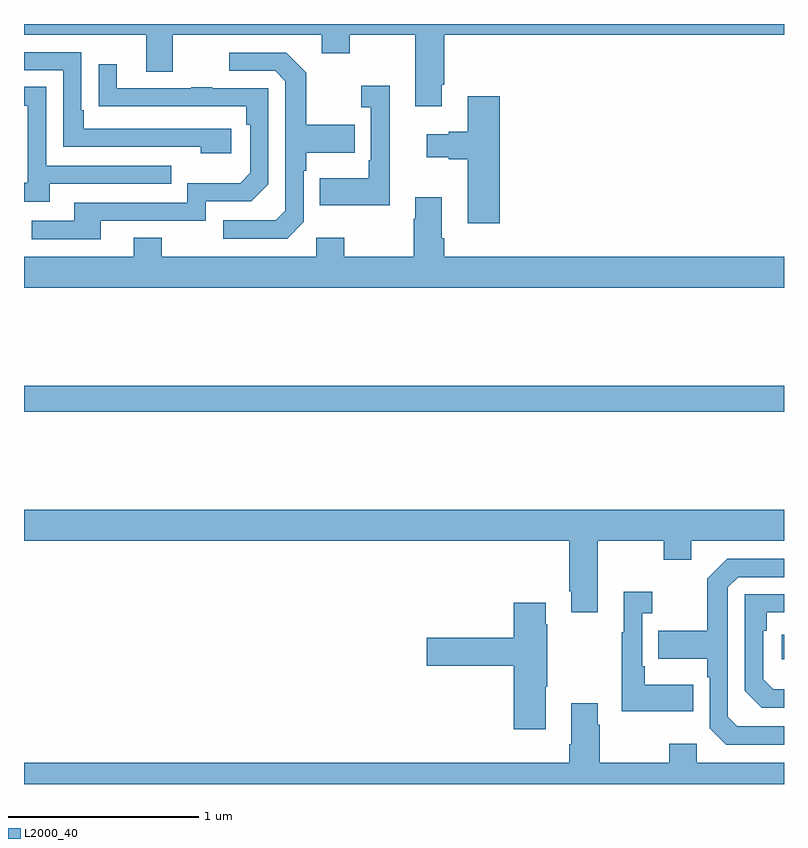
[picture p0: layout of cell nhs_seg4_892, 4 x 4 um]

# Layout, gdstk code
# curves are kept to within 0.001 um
import gdstk
lib = gdstk.Library(unit=1e-6, precision=1e-09)
def R(c, l, rs):  # rectangles x0, y0, x1, y1
    for r in rs: c.add(gdstk.rectangle(r[:2], r[2:], *l))
def P(c, l, *ps):  # polygons
    for p in ps: c.add(gdstk.Polygon(p, *l))
L2000_40 = (2000, 40)

nhs_seg4_892 = lib.new_cell('nhs_seg4_892')
R(nhs_seg4_892, L2000_40, [(160.989,769.556,161,769.686), (157,770.86,161,770.996)])
P(nhs_seg4_892, L2000_40, [(161,772.9),(157,772.9),(157,772.844),(157.643,772.844),(157.643,772.65),(157.783,772.65),(157.783,772.844),(158.567,772.844),(158.567,772.745),(158.715,772.745),(158.715,772.844),(159.059,772.844),(159.059,772.467),(159.199,772.467),(159.199,772.579),(159.212,772.579),(159.212,772.844),(161,772.844)],
  [(158.092,772.35),(157.315,772.35),(157.315,772.447),(157.302,772.447),(157.302,772.752),(157,772.752),(157,772.656),(157.206,772.656),(157.206,772.254),(157.931,772.254),(157.931,772.22),(158.092,772.22)],
  [(158.472,771.858),(158.472,772.127),(158.485,772.127),(158.485,772.223),(158.741,772.223),(158.741,772.371),(158.485,772.371),(158.485,772.643),(158.379,772.749),(158.079,772.749),(158.079,772.653),(158.322,772.653),(158.376,772.599),(158.376,771.918),(158.325,771.867),(158.049,771.867),(158.049,771.771),(158.385,771.771)],
  [(157.405,771.864),(157.956,771.864),(157.956,771.966),(158.196,771.966),(158.286,772.056),(158.286,772.563),(157.991,772.563),(157.991,772.568),(157.879,772.568),(157.879,772.563),(157.489,772.563),(157.489,772.687),(157.393,772.687),(157.393,772.468),(158.17,772.467),(158.17,772.37),(158.19,772.37),(158.19,772.116),(158.137,772.063),(157.86,772.063),(157.86,771.96),(157.265,771.96),(157.265,771.864),(157.041,771.864),(157.041,771.768),(157.405,771.768)],
  [(158.924,772.576),(158.775,772.576),(158.775,772.463),(158.826,772.463),(158.826,772.183),(158.814,772.183),(158.814,772.087),(158.557,772.087),(158.557,771.947),(158.924,771.947)],
  [(157.135,772.059),(157.775,772.059),(157.775,772.155),(157.116,772.155),(157.116,772.571),(157,772.571),(157,772.47),(157.02,772.47),(157.02,772.065),(157,772.065),(157,771.965),(157.135,771.965)],
  [(159.503,772.519),(159.335,772.519),(159.335,772.334),(159.236,772.334),(159.236,772.321),(159.12,772.321),(159.12,772.199),(159.236,772.199),(159.236,772.187),(159.335,772.187),(159.335,771.852),(159.503,771.852)],
  [(161,771.676),(159.212,771.676),(159.212,771.772),(159.199,771.772),(159.199,771.988),(159.059,771.988),(159.059,771.875),(159.052,771.875),(159.052,771.676),(158.685,771.676),(158.685,771.775),(158.538,771.775),(158.538,771.676),(157.725,771.676),(157.725,771.775),(157.577,771.775),(157.577,771.676),(157,771.676),(157,771.512),(161,771.512)],
  [(160.021,770.18),(160.366,770.18),(160.366,770.081),(160.513,770.081),(160.513,770.18),(161,770.18),(161,770.344),(157,770.344),(157,770.18),(159.869,770.18),(159.869,769.915),(159.881,769.915),(159.881,769.803),(160.021,769.803)],
  [(161,769.203),(160.755,769.203),(160.704,769.254),(160.704,769.935),(160.758,769.989),(161,769.989),(161,770.085),(160.701,770.085),(160.596,769.979),(160.596,769.707),(160.339,769.707),(160.339,769.559),(160.596,769.559),(160.596,769.463),(160.608,769.463),(160.608,769.194),(160.695,769.107),(161,769.107)],
  [(160.523,769.423),(160.267,769.423),(160.267,769.519),(160.254,769.519),(160.254,769.799),(160.306,769.799),(160.306,769.912),(160.157,769.912),(160.157,769.699),(160.146,769.699),(160.146,769.283),(160.523,769.283)],
  [(161,769.399),(160.943,769.399),(160.89,769.452),(160.89,769.706),(160.91,769.706),(160.91,769.803),(161,769.803),(161,769.899),(160.794,769.899),(160.794,769.392),(160.884,769.302),(161,769.302)],
  [(159.745,769.411),(159.753,769.411),(159.753,769.742),(159.745,769.742),(159.745,769.855),(159.578,769.855),(159.578,769.67),(159.12,769.67),(159.12,769.523),(159.578,769.523),(159.578,769.188),(159.745,769.188)],
  [(161,769.012),(160.542,769.012),(160.542,769.111),(160.396,769.111),(160.396,769.012),(160.029,769.012),(160.029,769.211),(160.021,769.211),(160.021,769.324),(159.881,769.324),(159.881,769.108),(159.869,769.108),(159.869,769.012),(157,769.012),(157,768.9),(161,768.9)])

lib.write_gds('nhs_seg4_892.gds')
